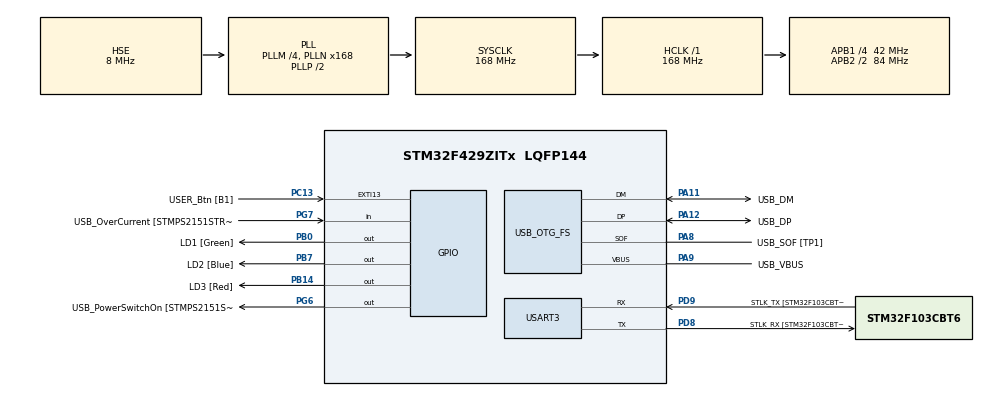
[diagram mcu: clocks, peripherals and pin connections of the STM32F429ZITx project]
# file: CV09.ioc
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Mcu.Family=STM32F4
Mcu.Name=STM32F429ZITx
Mcu.Package=LQFP144
NVIC.OTG_FS_IRQn=true\:0\:0\:false\:false\:true\:false\:true\:true
NVIC.PriorityGroup=NVIC_PRIORITYGROUP_4
PA1.GPIO_Label=RMII_REF_CLK [LAN8742A-CZ-TR_REFCLK0]
PA1.Signal=ETH_REF_CLK
PA10.GPIO_Label=USB_ID
PA10.Signal=USB_OTG_FS_ID
PA11.GPIO_Label=USB_DM
PA11.Mode=Device_Only
PA11.Signal=USB_OTG_FS_DM
PA12.GPIO_Label=USB_DP
PA12.Mode=Device_Only
PA12.Signal=USB_OTG_FS_DP
PA13.GPIO_Label=TMS
PA13.Mode=Serial_Wire
PA13.Signal=SYS_JTMS-SWDIO
PA14.GPIO_Label=TCK
PA14.Mode=Serial_Wire
PA14.Signal=SYS_JTCK-SWCLK
PA2.GPIO_Label=RMII_MDIO [LAN8742A-CZ-TR_MDIO]
PA2.Signal=ETH_MDIO
PA7.GPIO_Label=RMII_CRS_DV [LAN8742A-CZ-TR_CRS_DV]
PA7.Signal=ETH_CRS_DV
PA8.GPIO_Label=USB_SOF [TP1]
PA8.Mode=Activate_SOF_FS
PA8.Signal=USB_OTG_FS_SOF
PA9.GPIO_Label=USB_VBUS
PA9.Mode=Activate_VBUS
PA9.Signal=USB_OTG_FS_VBUS
PB0.GPIO_Label=LD1 [Green]
PB0.Signal=GPIO_Output
PB13.GPIO_Label=RMII_TXD1 [LAN8742A-CZ-TR_TXD1]
PB13.Signal=ETH_TXD1
PB14.GPIO_Label=LD3 [Red]
PB14.Signal=GPIO_Output
PB7.GPIO_Label=LD2 [Blue]
PB7.Signal=GPIO_Output
PC1.GPIO_Label=RMII_MDC [LAN8742A-CZ-TR_MDC]
PC1.Signal=ETH_MDC
PC13.GPIO_Label=USER_Btn [B1]
PC13.Signal=GPXTI13
PC14/OSC32_IN.Mode=LSE-External-Oscillator
PC14/OSC32_IN.Signal=RCC_OSC32_IN
PC15/OSC32_OUT.Mode=LSE-External-Oscillator
PC15/OSC32_OUT.Signal=RCC_OSC32_OUT
PC4.GPIO_Label=RMII_RXD0 [LAN8742A-CZ-TR_RXD0]
PC4.Signal=ETH_RXD0
PC5.GPIO_Label=RMII_RXD1 [LAN8742A-CZ-TR_RXD1]
PC5.Signal=ETH_RXD1
PD8.GPIO_Label=STLK_RX [STM32F103CBT6_PA3]
PD8.Mode=Asynchronous
PD8.Signal=USART3_TX
PD9.GPIO_Label=STLK_TX [STM32F103CBT6_PA2]
PD9.Mode=Asynchronous
PD9.Signal=USART3_RX
PG11.GPIO_Label=RMII_TX_EN [LAN8742A-CZ-TR_TXEN]
PG11.Signal=ETH_TX_EN
PG13.GPIO_Label=RMII_TXD0 [LAN8742A-CZ-TR_TXD0]
PG13.Signal=ETH_TXD0
PG6.GPIO_Label=USB_PowerSwitchOn [STMPS2151STR_EN]
PG6.Signal=GPIO_Output
PG7.GPIO_Label=USB_OverCurrent [STMPS2151STR_FAULT]
PG7.Signal=GPIO_Input
PH0/OSC_IN.GPIO_Label=MCO [STM32F103CBT6_PA8]
PH0/OSC_IN.Mode=HSE-External-Clock-Source
PH0/OSC_IN.Signal=RCC_OSC_IN
PH1/OSC_OUT.Mode=HSE-External-Clock-Source
PH1/OSC_OUT.Signal=RCC_OSC_OUT
ProjectManager.HeapSize=0x200
ProjectManager.StackSize=0x400
ProjectManager.TargetToolchain=STM32CubeIDE
RCC.48MHZClocksFreq_Value=48000000
RCC.AHBFreq_Value=168000000
RCC.APB1CLKDivider=RCC_HCLK_DIV4
RCC.APB1Freq_Value=42000000
RCC.APB1TimFreq_Value=84000000
RCC.APB2CLKDivider=RCC_HCLK_DIV2
RCC.APB2Freq_Value=84000000
RCC.APB2TimCLKDivider=2
RCC.APB2TimFreq_Value=168000000
RCC.CortexFreq_Value=168000000
RCC.HCLKFreq_Value=168000000
RCC.HSE_VALUE=8000000
RCC.HSI_VALUE=16000000
RCC.PLLM=4
RCC.PLLMUL=RCC_PLL_MUL9
RCC.PLLN=168
RCC.PLLQ=7
RCC.PRESCALERUSB=RCC_USBCLKSOURCE_PLL_DIV1_5
RCC.SYSCLKFreq_VALUE=168000000
RCC.SYSCLKSource=RCC_SYSCLKSOURCE_PLLCLK
RCC.SYSCLKSourceVirtual=RCC_SYSCLKSOURCE_PLLCLK
RCC.USBFreq_Value=48000000
RCC.VCOOutputFreq_Value=336000000
USART3.VirtualMode=VM_ASYNC
USB_DEVICE.CLASS_NAME_FS=HID
USB_DEVICE.VirtualMode-HID_FS=Hid
USB_DEVICE.VirtualModeFS=Hid_FS
USB_OTG_FS.VirtualMode=Device_Only
VP_USB_DEVICE_VS_USB_DEVICE_HID_FS.Mode=HID_FS
board=NUCLEO-F429ZI

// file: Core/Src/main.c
 	 /* USER CODE BEGIN Header */
/**
  ******************************************************************************
  * @file           : main.c
  * @brief          : Main program body
  ******************************************************************************
  * @attention
  *
  * Copyright (c) 2023 STMicroelectronics.
  * All rights reserved.
  *
  * This software is licensed under terms that can be found in the LICENSE file
  * in the root directory of this software component.
  * If no LICENSE file comes with this software, it is provided AS-IS.
  *
  ******************************************************************************
  */
/* USER CODE END Header */
#include "main.h"
#include "usb_device.h"

/* USER CODE BEGIN Includes */
#include <usbd_hid.h>
#include <math.h>
/* USER CODE END Includes */

UART_HandleTypeDef huart3;

/* USER CODE BEGIN PV */
extern USBD_HandleTypeDef hUsbDeviceFS;
/* USER CODE END PV */

void SystemClock_Config(void);
static void MX_GPIO_Init(void);
static void MX_USART3_UART_Init(void);

/* USER CODE BEGIN 0 */
void step(int8_t x, int8_t y, uint8_t btn) {
  uint8_t buff[4];
  buff[0] = btn; // leve tlacitko (0x01 alebo 0x00)
  buff[1] = (int8_t) (x); // posun X
  buff[2] = (int8_t) (y); // posun Y
  buff[3] = 0; // bez scrollu
  USBD_HID_SendReport(&hUsbDeviceFS, buff, sizeof(buff));
  HAL_Delay(USBD_HID_GetPollingInterval(&hUsbDeviceFS));
}

void circle_adv(int8_t radius, float start_progress, float end_progress) {
  const uint8_t parts = 50;
  const float full_circle = 2.0f * M_PI;
  const float delta_angle = full_circle / (float) parts;
  int8_t x, y;
  int8_t delta_x, delta_y;
  int8_t prev_x, prev_y;
  uint8_t start_index, end_index;
  float angle;
  prev_x = radius;
  prev_y = 0;

  start_index = round(start_progress * parts);
  end_index = round(end_progress * parts) + 1;

  if (start_index > 0) {
    angle = delta_angle * (start_index - 1);
    prev_x = (radius * cosf(angle));
    prev_y = (radius * sinf(angle));
  }

  step(0, 0, 1);

  for (uint8_t i = start_index; i < end_index; i++) {
    angle = delta_angle * i;
    x = (radius * cosf(angle));
    y = (radius * sinf(angle));
    delta_x = x - prev_x;
    delta_y = y - prev_y;
    step(delta_x, delta_y, 1);

    prev_x = x;
    prev_y = y;
  }

  step(0, 0, 0);
}

void circle(int8_t radius) {
  circle_adv(radius, 0.0f, 1.0f);
}

void smile() {
  // head
  circle(100);
  // nose
  step(-65, 10, 0);
  step(0, 0, 1);
  step(0, -20, 1);
  step(0, 0, 0);
  // eyes
  step(-15, -10, 0);
  circle(30);
  step(15 + 15 + 30, 0, 0);
  circle(30);
  // smile
  step(-7, 40, 0);
  circle_adv(70, (45.0f / 360.0f), (135.f / 360.0f));
}
/* USER CODE END 0 */

int main(void)
{

  /* MCU Configuration--------------------------------------------------------*/

  /* Reset of all peripherals, Initializes the Flash interface and the Systick. */
  HAL_Init();

  /* Configure the system clock */
  SystemClock_Config();

  /* Initialize all configured peripherals */
  MX_GPIO_Init();
  MX_USART3_UART_Init();
  MX_USB_DEVICE_Init();

  /* Infinite loop */
  /* USER CODE BEGIN WHILE */

  uint8_t buttonStatus;

  while (1) {
    buttonStatus = HAL_GPIO_ReadPin(USER_Btn_GPIO_Port, USER_Btn_Pin);
    if (buttonStatus == 1) {
      smile();
    }
    /* USER CODE END WHILE */

  }
}

void SystemClock_Config(void)
{
  RCC_OscInitTypeDef RCC_OscInitStruct = {0};
  RCC_ClkInitTypeDef RCC_ClkInitStruct = {0};

  /** Configure the main internal regulator output voltage
  */
  __HAL_RCC_PWR_CLK_ENABLE();
  __HAL_PWR_VOLTAGESCALING_CONFIG(PWR_REGULATOR_VOLTAGE_SCALE1);

  /** Initializes the RCC Oscillators according to the specified parameters
  * in the RCC_OscInitTypeDef structure.
  */
  RCC_OscInitStruct.OscillatorType = RCC_OSCILLATORTYPE_HSE;
  RCC_OscInitStruct.HSEState = RCC_HSE_BYPASS;
  RCC_OscInitStruct.PLL.PLLState = RCC_PLL_ON;
  RCC_OscInitStruct.PLL.PLLSource = RCC_PLLSOURCE_HSE;
  RCC_OscInitStruct.PLL.PLLM = 4;
  RCC_OscInitStruct.PLL.PLLN = 168;
  RCC_OscInitStruct.PLL.PLLP = RCC_PLLP_DIV2;
  RCC_OscInitStruct.PLL.PLLQ = 7;
  if (HAL_RCC_OscConfig(&RCC_OscInitStruct) != HAL_OK)
  {
    Error_Handler();
  }

  /** Initializes the CPU, AHB and APB buses clocks
  */
  RCC_ClkInitStruct.ClockType = RCC_CLOCKTYPE_HCLK|RCC_CLOCKTYPE_SYSCLK
                              |RCC_CLOCKTYPE_PCLK1|RCC_CLOCKTYPE_PCLK2;
  RCC_ClkInitStruct.SYSCLKSource = RCC_SYSCLKSOURCE_PLLCLK;
  RCC_ClkInitStruct.AHBCLKDivider = RCC_SYSCLK_DIV1;
  RCC_ClkInitStruct.APB1CLKDivider = RCC_HCLK_DIV4;
  RCC_ClkInitStruct.APB2CLKDivider = RCC_HCLK_DIV2;

  if (HAL_RCC_ClockConfig(&RCC_ClkInitStruct, FLASH_LATENCY_5) != HAL_OK)
  {
    Error_Handler();
  }
}

static void MX_USART3_UART_Init(void)
{

  huart3.Instance = USART3;
  huart3.Init.BaudRate = 115200;
  huart3.Init.WordLength = UART_WORDLENGTH_8B;
  huart3.Init.StopBits = UART_STOPBITS_1;
  huart3.Init.Parity = UART_PARITY_NONE;
  huart3.Init.Mode = UART_MODE_TX_RX;
  huart3.Init.HwFlowCtl = UART_HWCONTROL_NONE;
  huart3.Init.OverSampling = UART_OVERSAMPLING_16;
  if (HAL_UART_Init(&huart3) != HAL_OK)
  {
    Error_Handler();
  }

}

static void MX_GPIO_Init(void)
{
  GPIO_InitTypeDef GPIO_InitStruct = {0};

  /* GPIO Ports Clock Enable */
  __HAL_RCC_GPIOC_CLK_ENABLE();
  __HAL_RCC_GPIOH_CLK_ENABLE();
  __HAL_RCC_GPIOA_CLK_ENABLE();
  __HAL_RCC_GPIOB_CLK_ENABLE();
  __HAL_RCC_GPIOD_CLK_ENABLE();
  __HAL_RCC_GPIOG_CLK_ENABLE();

  /*Configure GPIO pin Output Level */
  HAL_GPIO_WritePin(GPIOB, LD1_Pin|LD3_Pin|LD2_Pin, GPIO_PIN_RESET);

  /*Configure GPIO pin Output Level */
  HAL_GPIO_WritePin(USB_PowerSwitchOn_GPIO_Port, USB_PowerSwitchOn_Pin, GPIO_PIN_RESET);

  /*Configure GPIO pin : USER_Btn_Pin */
  GPIO_InitStruct.Pin = USER_Btn_Pin;
  GPIO_InitStruct.Mode = GPIO_MODE_IT_RISING;
  GPIO_InitStruct.Pull = GPIO_NOPULL;
  HAL_GPIO_Init(USER_Btn_GPIO_Port, &GPIO_InitStruct);

  /*Configure GPIO pins : RMII_MDC_Pin RMII_RXD0_Pin RMII_RXD1_Pin */
  GPIO_InitStruct.Pin = RMII_MDC_Pin|RMII_RXD0_Pin|RMII_RXD1_Pin;
  GPIO_InitStruct.Mode = GPIO_MODE_AF_PP;
  GPIO_InitStruct.Pull = GPIO_NOPULL;
  GPIO_InitStruct.Speed = GPIO_SPEED_FREQ_VERY_HIGH;
  GPIO_InitStruct.Alternate = GPIO_AF11_ETH;
  HAL_GPIO_Init(GPIOC, &GPIO_InitStruct);

  /*Configure GPIO pins : RMII_REF_CLK_Pin RMII_MDIO_Pin RMII_CRS_DV_Pin */
  GPIO_InitStruct.Pin = RMII_REF_CLK_Pin|RMII_MDIO_Pin|RMII_CRS_DV_Pin;
  GPIO_InitStruct.Mode = GPIO_MODE_AF_PP;
  GPIO_InitStruct.Pull = GPIO_NOPULL;
  GPIO_InitStruct.Speed = GPIO_SPEED_FREQ_VERY_HIGH;
  GPIO_InitStruct.Alternate = GPIO_AF11_ETH;
  HAL_GPIO_Init(GPIOA, &GPIO_InitStruct);

  /*Configure GPIO pins : LD1_Pin LD3_Pin LD2_Pin */
  GPIO_InitStruct.Pin = LD1_Pin|LD3_Pin|LD2_Pin;
  GPIO_InitStruct.Mode = GPIO_MODE_OUTPUT_PP;
  GPIO_InitStruct.Pull = GPIO_NOPULL;
  GPIO_InitStruct.Speed = GPIO_SPEED_FREQ_LOW;
  HAL_GPIO_Init(GPIOB, &GPIO_InitStruct);

  /*Configure GPIO pin : RMII_TXD1_Pin */
  GPIO_InitStruct.Pin = RMII_TXD1_Pin;
  GPIO_InitStruct.Mode = GPIO_MODE_AF_PP;
  GPIO_InitStruct.Pull = GPIO_NOPULL;
  GPIO_InitStruct.Speed = GPIO_SPEED_FREQ_VERY_HIGH;
  GPIO_InitStruct.Alternate = GPIO_AF11_ETH;
  HAL_GPIO_Init(RMII_TXD1_GPIO_Port, &GPIO_InitStruct);

  /*Configure GPIO pin : USB_PowerSwitchOn_Pin */
  GPIO_InitStruct.Pin = USB_PowerSwitchOn_Pin;
  GPIO_InitStruct.Mode = GPIO_MODE_OUTPUT_PP;
  GPIO_InitStruct.Pull = GPIO_NOPULL;
  GPIO_InitStruct.Speed = GPIO_SPEED_FREQ_LOW;
  HAL_GPIO_Init(USB_PowerSwitchOn_GPIO_Port, &GPIO_InitStruct);

  /*Configure GPIO pin : USB_OverCurrent_Pin */
  GPIO_InitStruct.Pin = USB_OverCurrent_Pin;
  GPIO_InitStruct.Mode = GPIO_MODE_INPUT;
  GPIO_InitStruct.Pull = GPIO_NOPULL;
  HAL_GPIO_Init(USB_OverCurrent_GPIO_Port, &GPIO_InitStruct);

  /*Configure GPIO pins : RMII_TX_EN_Pin RMII_TXD0_Pin */
  GPIO_InitStruct.Pin = RMII_TX_EN_Pin|RMII_TXD0_Pin;
  GPIO_InitStruct.Mode = GPIO_MODE_AF_PP;
  GPIO_InitStruct.Pull = GPIO_NOPULL;
  GPIO_InitStruct.Speed = GPIO_SPEED_FREQ_VERY_HIGH;
  GPIO_InitStruct.Alternate = GPIO_AF11_ETH;
  HAL_GPIO_Init(GPIOG, &GPIO_InitStruct);

}

void Error_Handler(void)
{
  __disable_irq();
  while (1)
  {
  }
}
